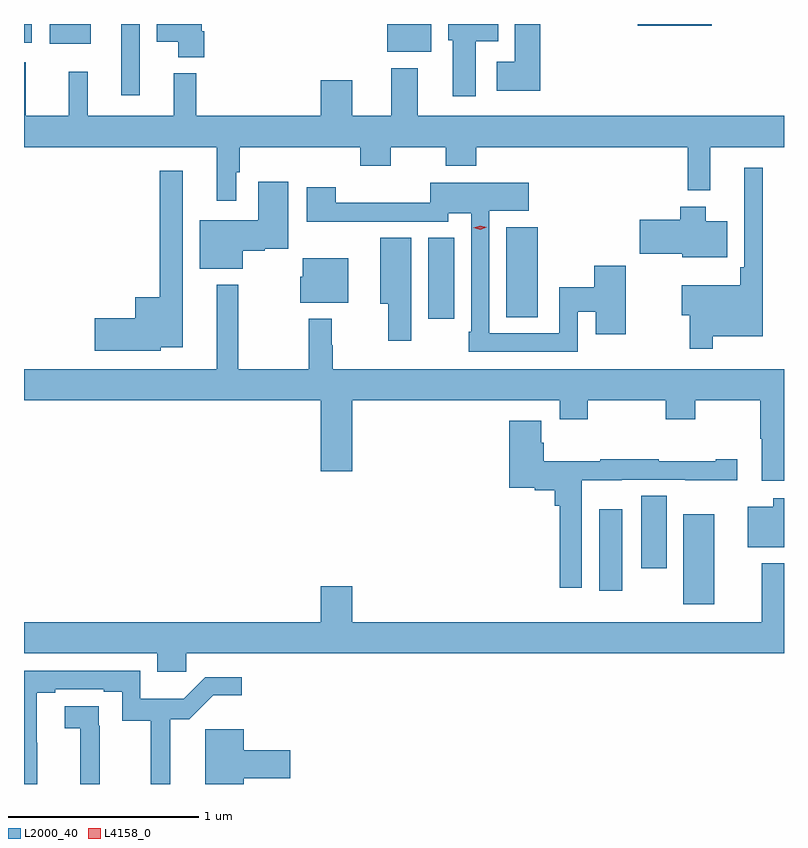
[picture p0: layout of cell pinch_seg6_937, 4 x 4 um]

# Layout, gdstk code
import gdstk
lib = gdstk.Library(unit=1e-6, precision=1e-09)
def R(c, l, rs):  # rectangles x0, y0, x1, y1
    for r in rs: c.add(gdstk.rectangle(r[:2], r[2:], *l))
def P(c, l, *ps):  # polygons
    for p in ps: c.add(gdstk.Polygon(p, *l))
L2000_40 = (2000, 40)
L4158_0 = (4158, 0)

pinch_seg6_937 = lib.new_cell('pinch_seg6_937')
R(pinch_seg6_937, L2000_40, [(250.832,942.267,250.993,942.739), (250.388,942.336,250.51,942.766), (250.61,942.456,250.744,942.836), (249.488,943.77,249.625,944.195), (249.899,943.777,250.066,944.251), (247.874,944.946,247.971,945.32), (249.272,945.173,249.505,945.32), (247.496,945.215,247.711,945.32), (247.361,945.221,247.402,945.32), (250.592,945.31,250.981,945.32)])
P(pinch_seg6_937, L2000_40, [(248.309,945.282),(248.296,945.282),(248.296,945.32),(248.06,945.32),(248.06,945.227),(248.174,945.227),(248.174,945.146),(248.309,945.146)],
  [(249.739,945.23),(249.856,945.23),(249.856,945.32),(249.593,945.32),(249.593,945.234),(249.617,945.234),(249.617,944.94),(249.739,944.94)],
  [(250.079,945.32),(249.944,945.32),(249.944,945.121),(249.849,945.121),(249.849,944.969),(250.079,944.969)],
  [(248.479,944.54),(248.497,944.54),(248.497,944.672),(249.131,944.672),(249.131,944.573),(249.291,944.573),(249.291,944.672),(249.58,944.672),(249.58,944.573),(249.74,944.573),(249.74,944.672),(250.855,944.672),(250.855,944.444),(250.973,944.444),(250.973,944.672),(251.361,944.672),(251.361,944.836),(249.433,944.836),(249.433,945.088),(249.293,945.088),(249.293,944.836),(249.088,944.836),(249.088,945.025),(248.924,945.025),(248.924,944.836),(248.267,944.836),(248.267,945.061),(248.15,945.061),(248.15,944.836),(247.697,944.836),(247.697,945.07),(247.597,945.07),(247.597,944.836),(247.369,944.836),(247.369,945.118),(247.361,945.118),(247.361,944.672),(248.375,944.672),(248.375,944.391),(248.479,944.391)],
  [(250.987,943.676),(251.248,943.676),(251.248,944.563),(251.151,944.563),(251.151,944.041),(251.131,944.041),(251.131,943.945),(250.824,943.945),(250.824,943.787),(250.866,943.787),(250.866,943.611),(250.987,943.611)],
  [(248.082,943.619),(248.197,943.619),(248.197,944.548),(248.076,944.548),(248.076,943.882),(247.946,943.882),(247.946,943.772),(247.734,943.772),(247.734,943.601),(248.082,943.601)],
  [(248.512,944.126),(248.628,944.126),(248.628,944.138),(248.752,944.138),(248.752,944.491),(248.594,944.491),(248.594,944.287),(248.285,944.287),(248.285,944.033),(248.512,944.033)],
  [(250.275,943.806),(250.37,943.806),(250.37,943.686),(250.528,943.686),(250.528,944.047),(250.363,944.047),(250.363,943.934),(250.179,943.934),(250.179,943.692),(249.81,943.692),(249.81,944.336),(250.018,944.336),(250.018,944.485),(249.498,944.485),(249.498,944.378),(249.002,944.378),(249.002,944.461),(248.849,944.461),(248.849,944.279),(249.085,944.279),(249.085,944.28),(249.594,944.28),(249.594,944.324),(249.714,944.324),(249.714,943.699),(249.702,943.699),(249.702,943.596),(250.275,943.596)],
  [(251.062,944.281),(250.948,944.281),(250.948,944.359),(250.814,944.359),(250.814,944.289),(250.602,944.289),(250.602,944.111),(250.826,944.111),(250.826,944.093),(251.062,944.093)],
  [(249.4,944.195),(249.236,944.195),(249.236,943.847),(249.278,943.847),(249.278,943.653),(249.4,943.653)],
  [(249.067,944.086),(248.828,944.086),(248.828,943.989),(248.816,943.989),(248.816,943.853),(249.067,943.853)],
  [(251.361,943.504),(248.987,943.504),(248.987,943.628),(248.98,943.628),(248.98,943.768),(248.859,943.768),(248.859,943.504),(248.489,943.504),(248.489,943.948),(248.375,943.948),(248.375,943.504),(247.361,943.504),(247.361,943.34),(248.924,943.34),(248.924,942.966),(249.088,942.966),(249.088,943.34),(250.181,943.34),(250.181,943.241),(250.329,943.241),(250.329,943.34),(250.738,943.34),(250.738,943.241),(250.893,943.241),(250.893,943.34),(251.236,943.34),(251.236,943.136),(251.243,943.136),(251.243,942.915),(251.361,942.915)],
  [(250.296,942.92),(250.506,942.92),(250.506,942.921),(250.84,942.921),(250.84,942.92),(251.116,942.92),(251.116,943.03),(251.003,943.03),(251.003,943.02),(250.703,943.02),(250.703,943.03),(250.393,943.03),(250.393,943.02),(250.097,943.02),(250.097,943.116),(250.084,943.116),(250.084,943.231),(249.914,943.231),(249.914,942.878),(250.05,942.878),(250.05,942.866),(250.154,942.866),(250.154,942.785),(250.18,942.785),(250.18,942.354),(250.296,942.354)],
  [(251.361,942.824),(251.304,942.824),(251.304,942.778),(251.171,942.778),(251.171,942.566),(251.361,942.566)],
  [(248.215,942.008),(251.361,942.008),(251.361,942.481),(251.243,942.481),(251.243,942.172),(249.088,942.172),(249.088,942.361),(248.924,942.361),(248.924,942.172),(247.361,942.172),(247.361,942.008),(248.063,942.008),(248.063,941.91),(248.215,941.91)],
  [(247.431,941.537),(247.429,941.537),(247.429,941.8),(247.525,941.8),(247.525,941.82),(247.781,941.82),(247.781,941.806),(247.878,941.806),(247.878,941.653),(248.029,941.653),(248.029,941.32),(248.132,941.32),(248.132,941.661),(248.231,941.661),(248.357,941.786),(248.506,941.786),(248.506,941.883),(248.316,941.883),(248.203,941.77),(247.974,941.77),(247.974,941.916),(247.361,941.916),(247.361,941.32),(247.431,941.32)],
  [(247.76,941.627),(247.754,941.627),(247.754,941.729),(247.575,941.729),(247.575,941.614),(247.657,941.614),(247.657,941.331),(247.658,941.331),(247.658,941.32),(247.76,941.32)],
  [(248.518,941.351),(248.761,941.351),(248.761,941.498),(248.518,941.498),(248.518,941.608),(248.315,941.608),(248.315,941.32),(248.518,941.32)])
P(pinch_seg6_937, L4158_0, [(249.761,944.238),(249.726,944.247),(249.726,944.247),(249.726,944.247),(249.761,944.258),(249.796,944.249),(249.796,944.249),(249.796,944.249)])

lib.write_gds('pinch_seg6_937.gds')
